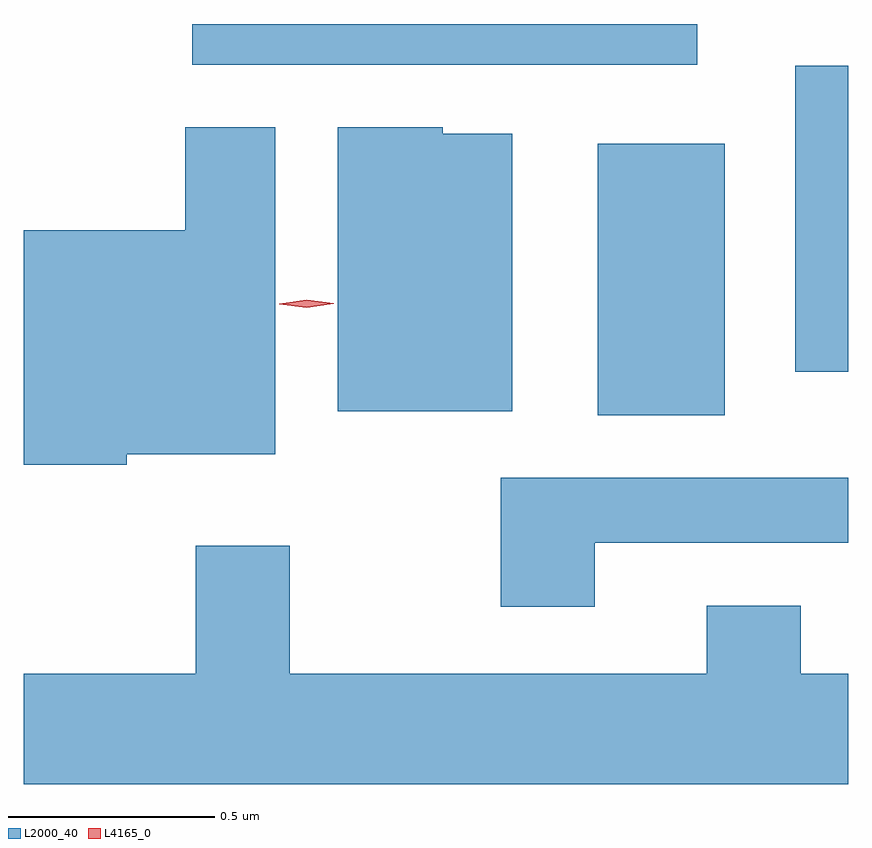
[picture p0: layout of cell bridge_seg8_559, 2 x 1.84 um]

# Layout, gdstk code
import gdstk
lib = gdstk.Library(unit=1e-6, precision=1e-09)
def R(c, l, rs):  # rectangles x0, y0, x1, y1
    for r in rs: c.add(gdstk.rectangle(r[:2], r[2:], *l))
def P(c, l, *ps):  # polygons
    for p in ps: c.add(gdstk.Polygon(p, *l))
L2000_40 = (2000, 40)
L4165_0 = (4165, 0)

bridge_seg8_559 = lib.new_cell('bridge_seg8_559')
R(bridge_seg8_559, L2000_40, [(437.556,1861.731,437.864,1862.389), (438.036,1861.836,438.164,1862.579), (436.573,1862.581,437.798,1862.68)])
P(bridge_seg8_559, L2000_40, [(437.349,1862.414),(437.18,1862.414),(437.18,1862.429),(436.926,1862.429),(436.926,1861.741),(437.349,1861.741)],
  [(436.414,1861.636),(436.774,1861.636),(436.774,1862.429),(436.556,1862.429),(436.556,1862.179),(436.164,1862.179),(436.164,1861.611),(436.414,1861.611)],
  [(437.549,1861.421),(438.164,1861.421),(438.164,1861.579),(437.321,1861.579),(437.321,1861.266),(437.549,1861.266)],
  [(438.164,1861.104),(438.049,1861.104),(438.049,1861.269),(437.821,1861.269),(437.821,1861.104),(436.809,1861.104),(436.809,1861.414),(436.581,1861.414),(436.581,1861.104),(436.164,1861.104),(436.164,1860.836),(438.164,1860.836)])
P(bridge_seg8_559, L4165_0, [(436.85,1861.991),(436.784,1862),(436.784,1862),(436.784,1862.001),(436.85,1862.011),(436.916,1862.002),(436.916,1862.001),(436.916,1862.001)])

lib.write_gds('bridge_seg8_559.gds')
